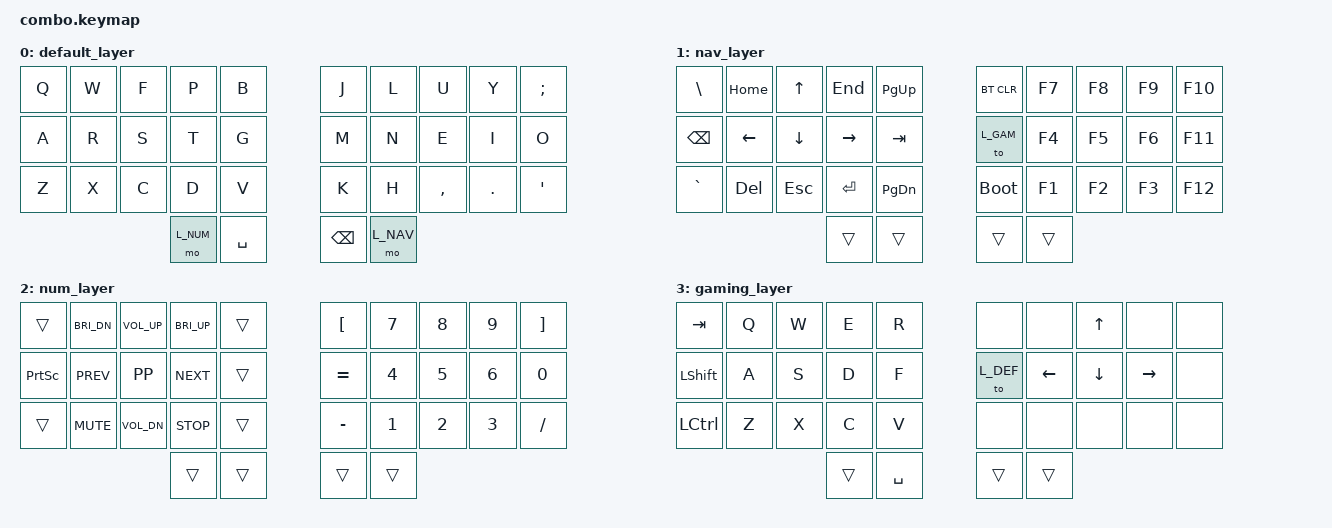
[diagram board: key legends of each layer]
/*
 * Copyright (c) 2020 The ZMK Contributors
 *
 * SPDX-License-Identifier: MIT
 */

#include <behaviors.dtsi>
#include <dt-bindings/zmk/bt.h>
#include <dt-bindings/zmk/keys.h>

// GENERAL KEYS
#define GEN_NONE &none
#define GEN_TRAN &trans

// DEFAULT LAYER

#define L_DEF 0

#define DEF_Q &kp Q
#define DEF_W &kp W
#define DEF_F &kp F
#define DEF_P &kp P
#define DEF_B &kp B
                        
#define DEF_A &kp A 
#define DEF_R &kp R 
#define DEF_S &kp S
#define DEF_T &kp T 
#define DEF_G &kp G
        
#define DEF_Z &kp Z
#define DEF_X &kp X
#define DEF_C &kp C
#define DEF_D &kp D
#define DEF_V &kp V
                        

#define DEF_J &kp J
#define DEF_L &kp L
#define DEF_U &kp U
#define DEF_Y &kp Y
#define DEF_SEMI &kp SEMI

#define DEF_K &kp K
#define DEF_H &kp H
#define DEF_COMA &kp COMMA
#define DEF_DOT &kp DOT
#define DEF_QUOT &kp SQT

#define DEF_M &kp M
#define DEF_N &kp N 
#define DEF_E &kp E
#define DEF_I &kp I 
#define DEF_O &kp O


#define DEF_NUM &mo L_NUM
#define DEF_SPC &kp SPC
#define DEF_BSPC &kp BSPC
#define DEF_NAV &mo L_NAV

// NAVIGATION LAYER
#define L_NAV 1

#define NAV_BSLH &kp BSLH
#define NAV_HOME &kp HOME
#define NAV_UP &kp UP
#define NAV_END &kp END
#define NAV_PGUP &kp PG_UP

#define NAV_BSPC &kp BSPC
#define NAV_LEFT &kp LEFT
#define NAV_DOWN &kp DOWN
#define NAV_RGHT &kp RIGHT
#define NAV_TAB &kp TAB

#define NAV_GRV &kp GRAVE
#define NAV_DEL &kp DEL
#define NAV_ESC &kp ESC
#define NAV_RET &kp RET
#define NAV_PGDN &kp PG_DN


#define NAV_BCLR &bt BT_CLR
#define NAV_F7 &kp F7
#define NAV_F8 &kp F8
#define NAV_F9 &kp F9
#define NAV_F10 &kp F10

#define NAV_GAME &to L_GAM
#define NAV_F4 &kp F4
#define NAV_F5 &kp F5
#define NAV_F6 &kp F6
#define NAV_F11 &kp F11

#define NAV_BOOT &bootloader
#define NAV_F1 &kp F1
#define NAV_F2 &kp F2
#define NAV_F3 &kp F3
#define NAV_F13 &kp F12

// NUM LAYER
#define L_NUM 2

#define NUM_LBKT &kp LBKT
#define NUM_N7 &kp N7 
#define NUM_N8 &kp N8
#define NUM_N9 &kp N9
#define NUM_RBKT &kp RBKT 

#define NUM_EQUL &kp EQUAL
#define NUM_N4 &kp N4
#define NUM_N5 &kp N5
#define NUM_N6 &kp N6
#define NUM_N0 &kp N0

#define NUM_MIN &kp MINUS
#define NUM_N1 &kp N1
#define NUM_N2 &kp N2
#define NUM_N3 &kp N3
#define NUM_FSLH &kp FSLH

#define NUM_BRID &kp C_BRI_DN
#define NUM_VOLU &kp C_VOL_UP
#define NUM_BRIU &kp C_BRI_UP

#define NUM_PRNT &kp PSCRN
#define NUM_PREV &kp C_PREV
#define NUM_PLAY &kp K_PP
#define NUM_NEXT &kp C_NEXT

#define NUM_MUTE &kp C_MUTE
#define NUM_VOLD &kp C_VOL_DN
#define NUM_STOP &kp C_STOP


// GAMING LAYER
#define L_GAM 4

#define GAM_TAB &kp TAB
#define GAM_Q &kp Q
#define GAM_W &kp W
#define GAM_E &kp E
#define GAM_R &kp R

#define GAM_LSFT &kp LSHIFT
#define GAM_A &kp A
#define GAM_S &kp S
#define GAM_D &kp D
#define GAM_F &kp F

#define GAM_LCTL &kp LCTRL
#define GAM_Z &kp Z
#define GAM_X &kp X
#define GAM_C &kp C
#define GAM_V &kp V


#define GAM_UP &kp UP

#define GAM_DEF &to L_DEF
#define GAM_LEFT &kp LEFT
#define GAM_DOWN &kp DOWN
#define GAM_RGHT &kp RIGHT

#define GAM_ESC &kp ESC
#define GAM_SPC &kp SPACE

&sk {
    release-after-ms = <2000>;
};

/ {
  behaviors {
    combos {
        compatible = "zmk,combos";
        combo_lgui {
            timeout-ms = <50>;
            key-positions = <10 20>;
            bindings = <&sk LGUI>;
        };
        combo_lalt {
            timeout-ms = <50>;
            key-positions = <11 21>;
            bindings = <&sk LALT>;
        };
        combo_lshift {
            timeout-ms = <50>;
            key-positions = <12 22>;
            bindings = <&sk LSHIFT>;
        };
        combo_lctl {
            timeout-ms = <50>;
            key-positions = <13 23>;
            bindings = <&sk LCTRL>;
        };
        combo_rctl {
            timeout-ms = <50>;
            key-positions = <16 26>;
            bindings = <&sk RCTRL>;
        };
        combo_rshift {
            timeout-ms = <50>;
            key-positions = <17 27>;
            bindings = <&sk RSHIFT>;
        };
        combo_ralt {
            timeout-ms = <50>;
            key-positions = <18 28>;
            bindings = <&sk LALT>;
        };
        combo_rgui {
            timeout-ms = <50>;
            key-positions = <19 29>;
            bindings = <&sk RGUI>;
        };
    };
  };

  keymap {
    compatible = "zmk,keymap";

    default_layer {
      bindings = <
        DEF_Q    DEF_W    DEF_F    DEF_P    DEF_B          DEF_J    DEF_L    DEF_U    DEF_Y    DEF_SEMI
        DEF_A    DEF_R    DEF_S    DEF_T    DEF_G          DEF_M    DEF_N    DEF_E    DEF_I    DEF_O
        DEF_Z    DEF_X    DEF_C    DEF_D    DEF_V          DEF_K    DEF_H    DEF_COMA DEF_DOT  DEF_QUOT
                                   DEF_NUM  DEF_SPC        DEF_BSPC DEF_NAV
      >;
    };

    nav_layer {
      bindings = <
        NAV_BSLH NAV_HOME NAV_UP   NAV_END  NAV_PGUP       NAV_BCLR NAV_F7   NAV_F8   NAV_F9   NAV_F10
        NAV_BSPC NAV_LEFT NAV_DOWN NAV_RGHT NAV_TAB        NAV_GAME NAV_F4   NAV_F5   NAV_F6   NAV_F11
        NAV_GRV  NAV_DEL  NAV_ESC  NAV_RET  NAV_PGDN       NAV_BOOT NAV_F1   NAV_F2   NAV_F3   NAV_F13
                                   GEN_TRAN GEN_TRAN       GEN_TRAN GEN_TRAN
      >;
    };

    num_layer {
      bindings = <
        GEN_TRAN NUM_BRID NUM_VOLU NUM_BRIU GEN_TRAN       NUM_LBKT NUM_N7    NUM_N8    NUM_N9    NUM_RBKT
        NUM_PRNT NUM_PREV NUM_PLAY NUM_NEXT GEN_TRAN       NUM_EQUL NUM_N4    NUM_N5    NUM_N6    NUM_N0
        GEN_TRAN NUM_MUTE NUM_VOLD NUM_STOP GEN_TRAN       NUM_MIN  NUM_N1    NUM_N2    NUM_N3    NUM_FSLH
                                   GEN_TRAN GEN_TRAN       GEN_TRAN GEN_TRAN
      >;
    };

    gaming_layer {
      bindings = <
        GAM_TAB  GAM_Q    GAM_W    GAM_E    GAM_R       GEN_NONE GEN_NONE GAM_UP   GEN_NONE GEN_NONE
        GAM_LSFT GAM_A    GAM_S    GAM_D    GAM_F       GAM_DEF  GAM_LEFT GAM_DOWN GAM_RGHT GEN_NONE
        GAM_LCTL GAM_Z    GAM_X    GAM_C    GAM_V       GEN_NONE GEN_NONE GEN_NONE GEN_NONE GEN_NONE
                                   GEN_TRAN GAM_SPC     GEN_TRAN GEN_TRAN
      >;
    };

    // empty_layer {
    //   bindings = <
    //     GEN_TRAN GEN_TRAN GEN_TRAN GEN_TRAN GEN_TRAN       GEN_TRAN GEN_TRAN GEN_TRAN GEN_TRAN GEN_TRAN
    //     GEN_TRAN GEN_TRAN GEN_TRAN GEN_TRAN GEN_TRAN       GEN_TRAN GEN_TRAN GEN_TRAN GEN_TRAN GEN_TRAN
    //     GEN_TRAN GEN_TRAN GEN_TRAN GEN_TRAN GEN_TRAN       GEN_TRAN GEN_TRAN GEN_TRAN GEN_TRAN GEN_TRAN
    //                                GEN_TRAN GEN_TRAN       GEN_TRAN GEN_TRAN
    //   >;
    // };

  };
};
